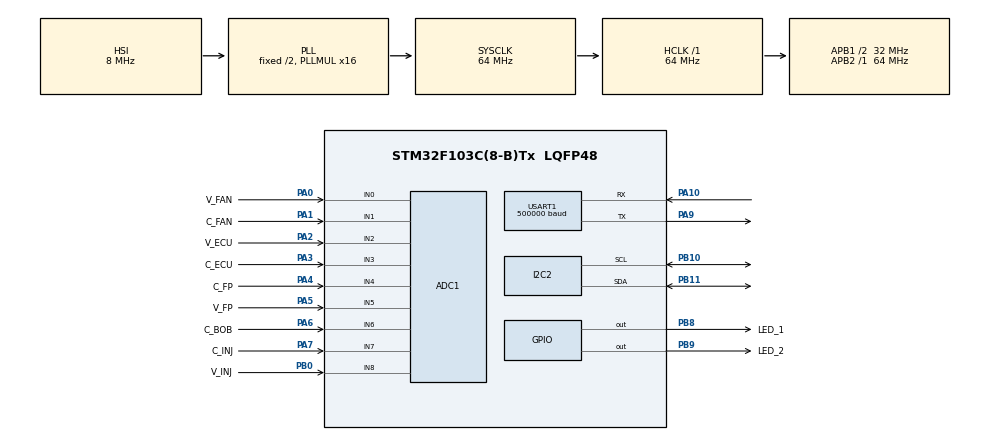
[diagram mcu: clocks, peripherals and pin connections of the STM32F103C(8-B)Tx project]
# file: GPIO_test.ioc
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ADC1.Channel-0\#ChannelRegularConversion=ADC_CHANNEL_0
ADC1.Channel-1\#ChannelRegularConversion=ADC_CHANNEL_1
ADC1.Channel-2\#ChannelRegularConversion=ADC_CHANNEL_2
ADC1.Channel-3\#ChannelRegularConversion=ADC_CHANNEL_3
ADC1.Channel-4\#ChannelRegularConversion=ADC_CHANNEL_4
ADC1.Channel-5\#ChannelRegularConversion=ADC_CHANNEL_5
ADC1.Channel-6\#ChannelRegularConversion=ADC_CHANNEL_6
ADC1.Channel-7\#ChannelRegularConversion=ADC_CHANNEL_7
ADC1.Channel-8\#ChannelRegularConversion=ADC_CHANNEL_8
ADC1.ContinuousConvMode=DISABLE
ADC1.NbrOfConversion=9
ADC1.NbrOfConversionFlag=1
ADC1.Rank-0\#ChannelRegularConversion=1
ADC1.Rank-1\#ChannelRegularConversion=2
ADC1.Rank-2\#ChannelRegularConversion=3
ADC1.Rank-3\#ChannelRegularConversion=4
ADC1.Rank-4\#ChannelRegularConversion=5
ADC1.Rank-5\#ChannelRegularConversion=6
ADC1.Rank-6\#ChannelRegularConversion=7
ADC1.Rank-7\#ChannelRegularConversion=8
ADC1.Rank-8\#ChannelRegularConversion=9
ADC1.SamplingTime-0\#ChannelRegularConversion=ADC_SAMPLETIME_239CYCLES_5
ADC1.SamplingTime-1\#ChannelRegularConversion=ADC_SAMPLETIME_239CYCLES_5
ADC1.SamplingTime-2\#ChannelRegularConversion=ADC_SAMPLETIME_239CYCLES_5
ADC1.SamplingTime-3\#ChannelRegularConversion=ADC_SAMPLETIME_239CYCLES_5
ADC1.SamplingTime-4\#ChannelRegularConversion=ADC_SAMPLETIME_239CYCLES_5
ADC1.SamplingTime-5\#ChannelRegularConversion=ADC_SAMPLETIME_239CYCLES_5
ADC1.SamplingTime-6\#ChannelRegularConversion=ADC_SAMPLETIME_239CYCLES_5
ADC1.SamplingTime-7\#ChannelRegularConversion=ADC_SAMPLETIME_239CYCLES_5
ADC1.SamplingTime-8\#ChannelRegularConversion=ADC_SAMPLETIME_239CYCLES_5
ADC1.master=1
Dma.ADC1.0.Direction=DMA_PERIPH_TO_MEMORY
Dma.ADC1.0.Instance=DMA1_Channel1
Dma.ADC1.0.MemDataAlignment=DMA_MDATAALIGN_WORD
Dma.ADC1.0.MemInc=DMA_MINC_ENABLE
Dma.ADC1.0.Mode=DMA_CIRCULAR
Dma.ADC1.0.PeriphDataAlignment=DMA_PDATAALIGN_WORD
Dma.ADC1.0.PeriphInc=DMA_PINC_DISABLE
Dma.ADC1.0.Priority=DMA_PRIORITY_LOW
Dma.Request0=ADC1
Mcu.Family=STM32F1
Mcu.Name=STM32F103C(8-B)Tx
Mcu.Package=LQFP48
NVIC.ADC1_2_IRQn=true\:0\:0\:false\:false\:true\:true\:true\:true
NVIC.DMA1_Channel1_IRQn=true\:0\:0\:false\:false\:true\:false\:true\:true
NVIC.PriorityGroup=NVIC_PRIORITYGROUP_4
PA0-WKUP.GPIO_Label=V_FAN
PA0-WKUP.Signal=ADCx_IN0
PA1.GPIO_Label=C_FAN
PA1.Signal=ADCx_IN1
PA10.Mode=Asynchronous
PA10.Signal=USART1_RX
PA13.GPIO_Label=SWDIO
PA13.Mode=Serial_Wire
PA13.Signal=SYS_JTMS-SWDIO
PA14.GPIO_Label=SWCLK
PA14.Mode=Serial_Wire
PA14.Signal=SYS_JTCK-SWCLK
PA2.GPIO_Label=V_ECU
PA2.Signal=ADCx_IN2
PA3.GPIO_Label=C_ECU
PA3.Signal=ADCx_IN3
PA4.GPIO_Label=C_FP
PA4.Signal=ADCx_IN4
PA5.GPIO_Label=V_FP
PA5.Signal=ADCx_IN5
PA6.GPIO_Label=C_BOB
PA6.Signal=ADCx_IN6
PA7.GPIO_Label=C_INJ
PA7.Signal=ADCx_IN7
PA9.Mode=Asynchronous
PA9.Signal=USART1_TX
PB0.GPIO_Label=V_INJ
PB0.Signal=ADCx_IN8
PB10.Mode=I2C
PB10.Signal=I2C2_SCL
PB11.Mode=I2C
PB11.Signal=I2C2_SDA
PB8.GPIO_Label=LED_1
PB8.Signal=GPIO_Output
PB9.GPIO_Label=LED_2
PB9.Signal=GPIO_Output
ProjectManager.HeapSize=0x200
ProjectManager.StackSize=0x400
ProjectManager.TargetToolchain=STM32CubeIDE
RCC.ADCPresc=RCC_ADCPCLK2_DIV8
RCC.AHBFreq_Value=64000000
RCC.APB1CLKDivider=RCC_HCLK_DIV2
RCC.APB1Freq_Value=32000000
RCC.APB1TimFreq_Value=64000000
RCC.APB2Freq_Value=64000000
RCC.APB2TimFreq_Value=64000000
RCC.HCLKFreq_Value=64000000
RCC.PLLMUL=RCC_PLL_MUL16
RCC.SYSCLKFreq_VALUE=64000000
RCC.SYSCLKSource=RCC_SYSCLKSOURCE_PLLCLK
RCC.USBFreq_Value=64000000
SH.ADCx_IN0.0=ADC1_IN0,IN0
SH.ADCx_IN1.0=ADC1_IN1,IN1
SH.ADCx_IN2.0=ADC1_IN2,IN2
SH.ADCx_IN3.0=ADC1_IN3,IN3
SH.ADCx_IN4.0=ADC1_IN4,IN4
SH.ADCx_IN5.0=ADC1_IN5,IN5
SH.ADCx_IN6.0=ADC1_IN6,IN6
SH.ADCx_IN7.0=ADC1_IN7,IN7
SH.ADCx_IN8.0=ADC1_IN8,IN8
TIM1.Period=1000-1
TIM1.Prescaler=64000-1
TIM1.TIM_MasterOutputTrigger=TIM_TRGO_UPDATE
USART1.BaudRate=500000
USART1.VirtualMode=VM_ASYNC
VP_TIM1_VS_ClockSourceINT.Mode=Internal
board=custom

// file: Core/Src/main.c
/* USER CODE BEGIN Header */
/**
  ******************************************************************************
  * @file           : main.c
  * @brief          : Main program body
  ******************************************************************************
  * @attention
  *
  * Copyright (c) 2024 STMicroelectronics.
  * All rights reserved.
  *
  * This software is licensed under terms that can be found in the LICENSE file
  * in the root directory of this software component.
  * If no LICENSE file comes with this software, it is provided AS-IS.
  *
  ******************************************************************************
  */
/* USER CODE END Header */
#include "main.h"

/* USER CODE BEGIN Includes */
#include "EEPROM.h"
#include "GPIO.h"
#include "LED.h"
#include "ADC.h"
/* USER CODE END Includes */

/* USER CODE BEGIN PD */
#define ADC_NUM_CONVERSIONS 9
#define ADC_RAW_TO_VOLTAGE 0.00005035477f
/* USER CODE END PD */

ADC_HandleTypeDef hadc1;
DMA_HandleTypeDef hdma_adc1;

I2C_HandleTypeDef hi2c2;

TIM_HandleTypeDef htim1;

UART_HandleTypeDef huart1;

/* USER CODE BEGIN PV */
volatile uint16_t adcData[ADC_NUM_CONVERSIONS];
volatile float potVoltage[ADC_NUM_CONVERSIONS];
/* USER CODE END PV */

void SystemClock_Config(void);
static void MX_GPIO_Init(void);
static void MX_DMA_Init(void);
static void MX_ADC1_Init(void);
static void MX_I2C2_Init(void);
static void MX_USART1_UART_Init(void);
static void MX_TIM1_Init(void);

/* USER CODE BEGIN 0 */
uint32_t value [9];
void HAL_ADC_ConvCpltCallback(ADC_HandleTypeDef* hadc){
	for(uint8_t index = 0; index < ADC_NUM_CONVERSIONS; index++){
		potVoltage[index] = ADC_RAW_TO_VOLTAGE *(float) adcData[index];
	}
}
/* USER CODE END 0 */

int main(void)
{

  /* MCU Configuration--------------------------------------------------------*/

  /* Reset of all peripherals, Initializes the Flash interface and the Systick. */
  HAL_Init();

  /* Configure the system clock */
  SystemClock_Config();

  /* Initialize all configured peripherals */
  MX_GPIO_Init();
  MX_DMA_Init();
  MX_ADC1_Init();
  MX_I2C2_Init();
  MX_USART1_UART_Init();
  MX_TIM1_Init();
  /* USER CODE BEGIN 2 */
  HAL_ADCEx_Calibration_Start(&hadc1);
  HAL_ADC_Start_DMA(&hadc1, (uint32_t*) adcData, ADC_NUM_CONVERSIONS);
  HAL_TIM_Base_Start(&htim1);

  uint8_t data = 0xFF;
  initEEPROM(&hi2c2);
  writeEEPROM(&hi2c2, &data , 1 , 0x1FFF);
  data = 0;
  readEEPROM(&hi2c2, &data , 1 , 0x1FFF);

  char d[5];
  snprintf(d, sizeof(d), "%04d\n", data);
  /* USER CODE END 2 */

  /* Infinite loop */
  /* USER CODE BEGIN WHILE */
  while (1)
  {
    HAL_Delay(1000);

    // Example of transmitting ADC data over UART
    char msg[50];
    //snprintf(msg, sizeof(msg), "ADC Voltage: %f\n", potVoltage[0]); // Adjust index as needed
    HAL_UART_Transmit(&huart1, (uint8_t*)msg, strlen(msg), 1000);

    /* USER CODE END WHILE */
  }
}

void SystemClock_Config(void)
{
  RCC_OscInitTypeDef RCC_OscInitStruct = {0};
  RCC_ClkInitTypeDef RCC_ClkInitStruct = {0};
  RCC_PeriphCLKInitTypeDef PeriphClkInit = {0};

  /** Initializes the RCC Oscillators according to the specified parameters
  * in the RCC_OscInitTypeDef structure.
  */
  RCC_OscInitStruct.OscillatorType = RCC_OSCILLATORTYPE_HSI;
  RCC_OscInitStruct.HSIState = RCC_HSI_ON;
  RCC_OscInitStruct.HSICalibrationValue = RCC_HSICALIBRATION_DEFAULT;
  RCC_OscInitStruct.PLL.PLLState = RCC_PLL_ON;
  RCC_OscInitStruct.PLL.PLLSource = RCC_PLLSOURCE_HSI_DIV2;
  RCC_OscInitStruct.PLL.PLLMUL = RCC_PLL_MUL16;
  if (HAL_RCC_OscConfig(&RCC_OscInitStruct) != HAL_OK)
  {
    Error_Handler();
  }

  /** Initializes the CPU, AHB and APB buses clocks
  */
  RCC_ClkInitStruct.ClockType = RCC_CLOCKTYPE_HCLK|RCC_CLOCKTYPE_SYSCLK
                              |RCC_CLOCKTYPE_PCLK1|RCC_CLOCKTYPE_PCLK2;
  RCC_ClkInitStruct.SYSCLKSource = RCC_SYSCLKSOURCE_PLLCLK;
  RCC_ClkInitStruct.AHBCLKDivider = RCC_SYSCLK_DIV1;
  RCC_ClkInitStruct.APB1CLKDivider = RCC_HCLK_DIV2;
  RCC_ClkInitStruct.APB2CLKDivider = RCC_HCLK_DIV1;

  if (HAL_RCC_ClockConfig(&RCC_ClkInitStruct, FLASH_LATENCY_2) != HAL_OK)
  {
    Error_Handler();
  }
  PeriphClkInit.PeriphClockSelection = RCC_PERIPHCLK_ADC;
  PeriphClkInit.AdcClockSelection = RCC_ADCPCLK2_DIV8;
  if (HAL_RCCEx_PeriphCLKConfig(&PeriphClkInit) != HAL_OK)
  {
    Error_Handler();
  }
}

static void MX_ADC1_Init(void)
{
  ADC_ChannelConfTypeDef sConfig = {0};

  hadc1.Instance = ADC1;
  hadc1.Init.ScanConvMode = ADC_SCAN_ENABLE;
  hadc1.Init.ContinuousConvMode = DISABLE;
  hadc1.Init.DiscontinuousConvMode = DISABLE;
  hadc1.Init.ExternalTrigConv = ADC_SOFTWARE_START;
  hadc1.Init.DataAlign = ADC_DATAALIGN_RIGHT;
  hadc1.Init.NbrOfConversion = 9;
  if (HAL_ADC_Init(&hadc1) != HAL_OK)
  {
    Error_Handler();
  }

  sConfig.Channel = ADC_CHANNEL_0;
  sConfig.Rank = ADC_REGULAR_RANK_1;
  sConfig.SamplingTime = ADC_SAMPLETIME_239CYCLES_5;
  if (HAL_ADC_ConfigChannel(&hadc1, &sConfig) != HAL_OK)
  {
    Error_Handler();
  }

  sConfig.Channel = ADC_CHANNEL_1;
  sConfig.Rank = ADC_REGULAR_RANK_2;
  if (HAL_ADC_ConfigChannel(&hadc1, &sConfig) != HAL_OK)
  {
    Error_Handler();
  }

  sConfig.Channel = ADC_CHANNEL_2;
  sConfig.Rank = ADC_REGULAR_RANK_3;
  if (HAL_ADC_ConfigChannel(&hadc1, &sConfig) != HAL_OK)
  {
    Error_Handler();
  }

  sConfig.Channel = ADC_CHANNEL_3;
  sConfig.Rank = ADC_REGULAR_RANK_4;
  if (HAL_ADC_ConfigChannel(&hadc1, &sConfig) != HAL_OK)
  {
    Error_Handler();
  }

  sConfig.Channel = ADC_CHANNEL_4;
  sConfig.Rank = ADC_REGULAR_RANK_5;
  if (HAL_ADC_ConfigChannel(&hadc1, &sConfig) != HAL_OK)
  {
    Error_Handler();
  }

  sConfig.Channel = ADC_CHANNEL_5;
  sConfig.Rank = ADC_REGULAR_RANK_6;
  if (HAL_ADC_ConfigChannel(&hadc1, &sConfig) != HAL_OK)
  {
    Error_Handler();
  }

  sConfig.Channel = ADC_CHANNEL_6;
  sConfig.Rank = ADC_REGULAR_RANK_7;
  if (HAL_ADC_ConfigChannel(&hadc1, &sConfig) != HAL_OK)
  {
    Error_Handler();
  }

  sConfig.Channel = ADC_CHANNEL_7;
  sConfig.Rank = ADC_REGULAR_RANK_8;
  if (HAL_ADC_ConfigChannel(&hadc1, &sConfig) != HAL_OK)
  {
    Error_Handler();
  }

  sConfig.Channel = ADC_CHANNEL_8;
  sConfig.Rank = ADC_REGULAR_RANK_9;
  if (HAL_ADC_ConfigChannel(&hadc1, &sConfig) != HAL_OK)
  {
    Error_Handler();
  }

}

static void MX_I2C2_Init(void)
{

  hi2c2.Instance = I2C2;
  hi2c2.Init.ClockSpeed = 400000;
  hi2c2.Init.DutyCycle = I2C_DUTYCYCLE_2;
  hi2c2.Init.OwnAddress1 = 0;
  hi2c2.Init.AddressingMode = I2C_ADDRESSINGMODE_7BIT;
  hi2c2.Init.DualAddressMode = I2C_DUALADDRESS_DISABLE;
  hi2c2.Init.OwnAddress2 = 0;
  hi2c2.Init.GeneralCallMode = I2C_GENERALCALL_DISABLE;
  hi2c2.Init.NoStretchMode = I2C_NOSTRETCH_DISABLE;
  if (HAL_I2C_Init(&hi2c2) != HAL_OK)
  {
    Error_Handler();
  }

}

static void MX_TIM1_Init(void)
{

  TIM_ClockConfigTypeDef sClockSourceConfig = {0};
  TIM_MasterConfigTypeDef sMasterConfig = {0};

  htim1.Instance = TIM1;
  htim1.Init.Prescaler = 64000;
  htim1.Init.CounterMode = TIM_COUNTERMODE_UP;
  htim1.Init.Period = 1000;
  htim1.Init.ClockDivision = TIM_CLOCKDIVISION_DIV1;
  htim1.Init.RepetitionCounter = 0;
  htim1.Init.AutoReloadPreload = TIM_AUTORELOAD_PRELOAD_DISABLE;
  if (HAL_TIM_Base_Init(&htim1) != HAL_OK)
  {
    Error_Handler();
  }
  sClockSourceConfig.ClockSource = TIM_CLOCKSOURCE_INTERNAL;
  if (HAL_TIM_ConfigClockSource(&htim1, &sClockSourceConfig) != HAL_OK)
  {
    Error_Handler();
  }
  sMasterConfig.MasterOutputTrigger = TIM_TRGO_UPDATE;
  sMasterConfig.MasterSlaveMode = TIM_MASTERSLAVEMODE_DISABLE;
  if (HAL_TIMEx_MasterConfigSynchronization(&htim1, &sMasterConfig) != HAL_OK)
  {
    Error_Handler();
  }

}

static void MX_USART1_UART_Init(void)
{

  huart1.Instance = USART1;
  huart1.Init.BaudRate = 115200;
  huart1.Init.WordLength = UART_WORDLENGTH_8B;
  huart1.Init.StopBits = UART_STOPBITS_1;
  huart1.Init.Parity = UART_PARITY_NONE;
  huart1.Init.Mode = UART_MODE_TX_RX;
  huart1.Init.HwFlowCtl = UART_HWCONTROL_NONE;
  huart1.Init.OverSampling = UART_OVERSAMPLING_16;
  if (HAL_UART_Init(&huart1) != HAL_OK)
  {
    Error_Handler();
  }

}

static void MX_DMA_Init(void)
{

  /* DMA controller clock enable */
  __HAL_RCC_DMA1_CLK_ENABLE();

  /* DMA interrupt init */
  /* DMA1_Channel1_IRQn interrupt configuration */
  HAL_NVIC_SetPriority(DMA1_Channel1_IRQn, 0, 0);
  HAL_NVIC_EnableIRQ(DMA1_Channel1_IRQn);

}

static void MX_GPIO_Init(void)
{
  GPIO_InitTypeDef GPIO_InitStruct = {0};

  /* GPIO Ports Clock Enable */
  __HAL_RCC_GPIOD_CLK_ENABLE();
  __HAL_RCC_GPIOA_CLK_ENABLE();

  /*Configure GPIO pin : PA0 */
  GPIO_InitStruct.Pin = GPIO_PIN_0;
  GPIO_InitStruct.Mode = GPIO_MODE_ANALOG;
  HAL_GPIO_Init(GPIOA, &GPIO_InitStruct);

}

void Error_Handler(void)
{
  while (1)
  {
  }
}
